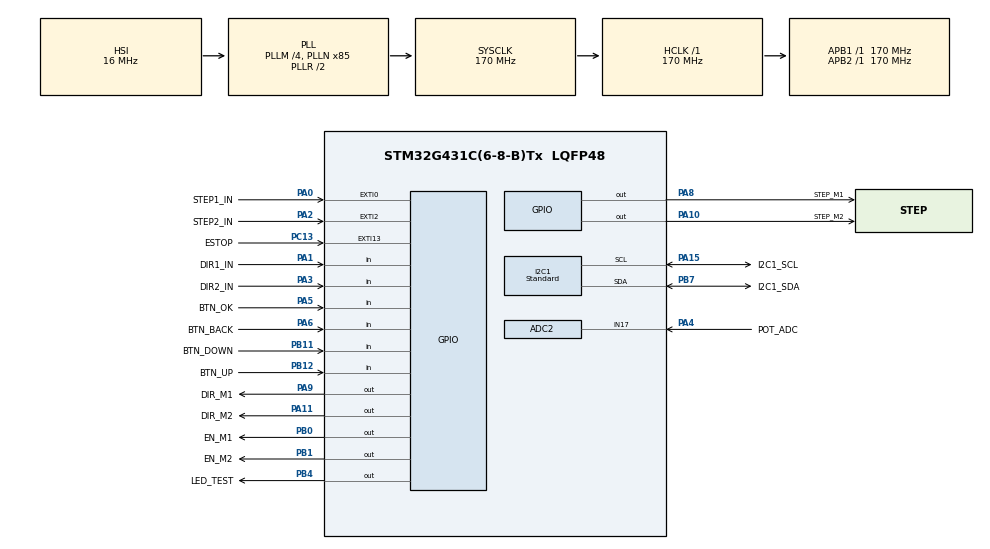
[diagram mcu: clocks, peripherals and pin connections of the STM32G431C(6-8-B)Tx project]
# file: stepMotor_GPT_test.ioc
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ADC2.Channel-0\#ChannelRegularConversion=ADC_CHANNEL_17
ADC2.ContinuousConvMode=ENABLE
ADC2.NbrOfConversionFlag=1
ADC2.OffsetNumber-0\#ChannelRegularConversion=ADC_OFFSET_NONE
ADC2.Rank-0\#ChannelRegularConversion=1
ADC2.SamplingTime-0\#ChannelRegularConversion=ADC_SAMPLETIME_247CYCLES_5
I2C1.I2C_Speed_Mode=I2C_Standard
I2C1.Speed=100
I2C1.Timing=0x30A0A7FB
Mcu.Family=STM32G4
Mcu.Name=STM32G431C(6-8-B)Tx
Mcu.Package=LQFP48
NVIC.EXTI15_10_IRQn=true\:1\:0\:true\:false\:true\:true\:true\:true
NVIC.PriorityGroup=NVIC_PRIORITYGROUP_4
NVIC.TIM6_DAC_IRQn=true\:0\:0\:false\:false\:true\:true\:true\:true
PA0.GPIO_Label=STEP1_IN
PA0.GPIO_ModeDefaultEXTI=GPIO_MODE_IT_RISING
PA0.GPIO_PuPd=GPIO_PULLDOWN
PA0.Signal=GPXTI0
PA1.GPIO_Label=DIR1_IN
PA1.GPIO_PuPd=GPIO_PULLDOWN
PA1.Signal=GPIO_Input
PA10.GPIO_Label=STEP_M2
PA10.GPIO_Speed=GPIO_SPEED_FREQ_VERY_HIGH
PA10.Signal=GPIO_Output
PA11.GPIO_Label=DIR_M2
PA11.GPIO_Speed=GPIO_SPEED_FREQ_VERY_HIGH
PA11.Signal=GPIO_Output
PA13.Mode=Serial_Wire
PA13.Signal=SYS_JTMS-SWDIO
PA14.Mode=Serial_Wire
PA14.Signal=SYS_JTCK-SWCLK
PA15.GPIO_Label=I2C1_SCL
PA15.GPIO_Pu=GPIO_PULLUP
PA15.GPIO_Speed=GPIO_SPEED_FREQ_LOW
PA15.Mode=I2C
PA15.Signal=I2C1_SCL
PA2.GPIO_Label=STEP2_IN
PA2.GPIO_PuPd=GPIO_PULLDOWN
PA2.Signal=GPXTI2
PA3.GPIO_Label=DIR2_IN
PA3.GPIO_PuPd=GPIO_PULLDOWN
PA3.Signal=GPIO_Input
PA4.GPIO_Label=POT_ADC
PA4.Mode=IN17-Single-Ended
PA4.Signal=ADC2_IN17
PA5.GPIO_Label=BTN_OK
PA5.GPIO_PuPd=GPIO_PULLUP
PA5.Signal=GPIO_Input
PA6.GPIO_Label=BTN_BACK
PA6.GPIO_PuPd=GPIO_PULLUP
PA6.Signal=GPIO_Input
PA8.GPIO_Label=STEP_M1
PA8.GPIO_ModeDefaultOutputPP=GPIO_MODE_OUTPUT_PP
PA8.GPIO_Speed=GPIO_SPEED_FREQ_VERY_HIGH
PA8.Signal=GPIO_Output
PA9.GPIO_Label=DIR_M1
PA9.GPIO_Speed=GPIO_SPEED_FREQ_VERY_HIGH
PA9.Signal=GPIO_Output
PB0.GPIO_Label=EN_M1
PB0.GPIO_Speed=GPIO_SPEED_FREQ_VERY_HIGH
PB0.PinState=GPIO_PIN_SET
PB0.Signal=GPIO_Output
PB1.GPIO_Label=EN_M2
PB1.GPIO_Speed=GPIO_SPEED_FREQ_VERY_HIGH
PB1.PinState=GPIO_PIN_SET
PB1.Signal=GPIO_Output
PB11.GPIO_Label=BTN_DOWN
PB11.GPIO_PuPd=GPIO_PULLUP
PB11.Signal=GPIO_Input
PB12.GPIO_Label=BTN_UP
PB12.GPIO_PuPd=GPIO_PULLUP
PB12.Signal=GPIO_Input
PB4.GPIO_Label=LED_TEST
PB4.PinState=GPIO_PIN_SET
PB4.Signal=GPIO_Output
PB7.GPIO_Label=I2C1_SDA
PB7.GPIO_Pu=GPIO_PULLUP
PB7.GPIO_Speed=GPIO_SPEED_FREQ_LOW
PB7.Mode=I2C
PB7.Signal=I2C1_SDA
PC13.GPIO_Label=ESTOP
PC13.GPIO_ModeDefaultEXTI=GPIO_MODE_IT_FALLING
PC13.GPIO_PuPd=GPIO_PULLUP
PC13.Signal=GPXTI13
ProjectManager.HeapSize=0x200
ProjectManager.StackSize=0x400
ProjectManager.TargetToolchain=STM32CubeIDE
RCC.ADC12Freq_Value=170000000
RCC.AHBFreq_Value=170000000
RCC.APB1Freq_Value=170000000
RCC.APB1TimFreq_Value=170000000
RCC.APB2Freq_Value=170000000
RCC.APB2TimFreq_Value=170000000
RCC.CortexFreq_Value=170000000
RCC.EXTERNAL_CLOCK_VALUE=12288000
RCC.HCLKFreq_Value=170000000
RCC.HSE_VALUE=8000000
RCC.HSI48_VALUE=48000000
RCC.HSI_VALUE=16000000
RCC.LSE_VALUE=32768
RCC.PLLM=RCC_PLLM_DIV4
RCC.PLLN=85
RCC.SYSCLKFreq_VALUE=170000000
RCC.SYSCLKSource=RCC_SYSCLKSOURCE_PLLCLK
RCC.USBFreq_Value=170000000
RCC.VCOOutputFreq_Value=340000000
TIM6.PeriodNoDither=49
TIM6.Prescaler=169
VP_IWDG_VS_IWDG.Mode=IWDG_Activate
VP_TIM6_VS_ClockSourceINT.Mode=Enable_Timer
board=custom

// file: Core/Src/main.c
/* USER CODE BEGIN Header */
/**
 ******************************************************************************
 * @file           : main.c
 * @brief          : Main program body
 ******************************************************************************
 * @attention
 *
 * Copyright (c) 2026 STMicroelectronics.
 * All rights reserved.
 *
 * This software is licensed under terms that can be found in the LICENSE file
 * in the root directory of this software component.
 * If no LICENSE file comes with this software, it is provided AS-IS.
 *
 ******************************************************************************
 */
/* USER CODE END Header */
#include "main.h"

/* USER CODE BEGIN Includes */
#include "axis.h"
#include "driver.h"
#include "safety.h"

#include "potentiometer.h"
#include "ui.h"
#include "estop.h"

#include "buttons.h"
#include "menu.h"
#include <stdint.h>
#include "stm32g4xx_hal.h"
#include "stm32g4xx_hal_iwdg.h"

/* USER CODE END Includes */

/* USER CODE BEGIN PD */
#define USE_IWDG 1
/* USER CODE END PD */

ADC_HandleTypeDef hadc2;

I2C_HandleTypeDef hi2c1;

#if USE_IWDG
IWDG_HandleTypeDef hiwdg;
#endif

TIM_HandleTypeDef htim6;

/* USER CODE BEGIN PV */
Axis axis1;
Axis axis2;
Driver drv1;
Driver drv2;
Safety safety;

Potentiometer pot;
static uint16_t pot_value = 0;
static uint32_t speed_update_tick = 0;

Buttons btns;
Menu menu;

/* USER CODE END PV */

void SystemClock_Config(void);
static void MX_GPIO_Init(void);
static void MX_TIM6_Init(void);
static void MX_ADC2_Init(void);
static void MX_I2C1_Init(void);
#if USE_IWDG
static void MX_IWDG_Init(void);
#endif

int main(void)
{

  /* MCU Configuration--------------------------------------------------------*/

  /* Reset of all peripherals, Initializes the Flash interface and the Systick. */
  HAL_Init();

  /* Configure the system clock */
  SystemClock_Config();

  /* USER CODE BEGIN SysInit */
	// Enable DWT cycle counter for microsecond delays (Cortex-M4)
	CoreDebug->DEMCR |= CoreDebug_DEMCR_TRCENA_Msk;
	DWT->CYCCNT = 0;
	DWT->CTRL |= DWT_CTRL_CYCCNTENA_Msk;
  /* USER CODE END SysInit */

  /* Initialize all configured peripherals */
  MX_GPIO_Init();
  MX_TIM6_Init();
  MX_ADC2_Init();
  MX_I2C1_Init();
#if USE_IWDG
  MX_IWDG_Init();
#endif
  /* USER CODE BEGIN 2 */
	/* Дать OLED чуть “проснуться” после старта питания */
	HAL_Delay(50);

	/* === I2C scan === */
	uint8_t found = 0;
	uint8_t a;

	for (a = 1; a < 127; a++) {
		if (HAL_I2C_IsDeviceReady(&hi2c1, (uint16_t) (a << 1), 2, 20)
				== HAL_OK) {
			found = a;   // ждём 0x3C
			break;
		}
	}

	/* === индикация LED_TEST === */
	if (found == 0x3C) {
		/* OLED найден: моргнём 3 раза и продолжаем запуск */
		for (int i = 0; i < 3; i++) {
			HAL_GPIO_TogglePin(LED_TEST_GPIO_Port, LED_TEST_Pin);
			HAL_Delay(120);
			HAL_GPIO_TogglePin(LED_TEST_GPIO_Port, LED_TEST_Pin);
			HAL_Delay(120);
		}
	} else {
		/* OLED НЕ найден: медленно мигаем и стопоримся (чтобы сразу было видно проблему) */
		while (1) {
			HAL_GPIO_TogglePin(LED_TEST_GPIO_Port, LED_TEST_Pin);
			HAL_Delay(500);

#if USE_IWDG
			HAL_IWDG_Refresh(&hiwdg);
#endif
		}

	}

	/* дальше — твой обычный запуск */
	Axis_Init(&axis1,
	STEP_M1_GPIO_Port, STEP_M1_Pin,
	DIR_M1_GPIO_Port, DIR_M1_Pin, MICROSTEP_64);

	Axis_Init(&axis2,
	STEP_M2_GPIO_Port, STEP_M2_Pin,
	DIR_M2_GPIO_Port, DIR_M2_Pin, MICROSTEP_64);

	Driver_Init(&drv1, EN_M1_GPIO_Port, EN_M1_Pin, 0);
	Driver_Init(&drv2, EN_M2_GPIO_Port, EN_M2_Pin, 0);

	Driver_Enable(&drv1);
	Driver_Enable(&drv2);

	Safety_Init(&safety, ESTOP_GPIO_Port, ESTOP_Pin, &drv1, &drv2);

	Potentiometer_Init(&pot, &hadc2, 0, 4095);

	/* ВАЖНО: UI_Init теперь точно дойдёт и покажет "UI READY" */
	UI_Init(&hi2c1);

	Buttons_Init(&btns);
	Menu_Init(&menu, &axis1, &axis2, &drv1, &drv2);

	HAL_TIM_Base_Start_IT(&htim6);

  /* USER CODE END 2 */

  /* Infinite loop */
  /* USER CODE BEGIN WHILE */
	while (1) {
		/* ===== аварийная остановка ===== */
		/* ===== аварийная остановка (latched fault, без "заморозки" MCU) ===== */
		static uint8_t estop_handled = 0;

		if (Estop_IsActive()) {

			if (!estop_handled) {
				/* 1) остановить генерацию STEP */
				HAL_TIM_Base_Stop_IT(&htim6);

				/* 2) программно остановить оси */
				Axis_EmergencyStop(&axis1);
				Axis_EmergencyStop(&axis2);

				/* 3) прижать STEP/DIR в 0 */
				HAL_GPIO_WritePin(STEP_M1_GPIO_Port, STEP_M1_Pin,
						GPIO_PIN_RESET);
				HAL_GPIO_WritePin(STEP_M2_GPIO_Port, STEP_M2_Pin,
						GPIO_PIN_RESET);
				HAL_GPIO_WritePin(DIR_M1_GPIO_Port, DIR_M1_Pin, GPIO_PIN_RESET);
				HAL_GPIO_WritePin(DIR_M2_GPIO_Port, DIR_M2_Pin, GPIO_PIN_RESET);

				/* 4) отключить драйверы */
				Driver_DisableAll();

				/* помечаем что уже отработали один раз */
				estop_handled = 1;
			}

		} else {
			/* если E-STOP отпущен — разрешаем отработать снова при следующем срабатывании */
			estop_handled = 0;
		}

		/* ===== обычная работа ===== */
		Safety_Update(&safety);

		Buttons_Update(&btns);
		Menu_Update(&menu, &btns);   // меню само рисует UI

		/* ===== выполнение команды START от меню (one-shot) ===== */
		if (menu.start_request) {
			menu.start_request = 0;  // обязательно сбросить сразу

			if (!Estop_IsActive()) {
				int32_t steps = menu.steps_full;

				if (menu.link_motors) {
					Axis_MoveSteps(&axis1, steps);
					Axis_MoveSteps(&axis2, steps);
				} else {
					if (menu.selected_axis == 0)
						Axis_MoveSteps(&axis1, steps);
					else
						Axis_MoveSteps(&axis2, steps);
				}
			}
		}

		Potentiometer_Update(&pot);

		/* ===== скорость раз в 5 мс (max_speed для профиля) ===== */
		if (HAL_GetTick() - speed_update_tick >= 5U) {
			speed_update_tick = HAL_GetTick();

			pot_value = Potentiometer_GetValue(&pot);

			uint32_t max_usps =
			AXIS_MIN_SPEED_USTEP_S
					+ ((uint32_t) pot_value
							* (AXIS_MAX_SPEED_USTEP_S - AXIS_MIN_SPEED_USTEP_S))
							/ 4095U;

			axis1.max_speed = max_usps;
			axis2.max_speed = max_usps;
		}
#if USE_IWDG
		HAL_IWDG_Refresh(&hiwdg);
#endif
	}
    /* USER CODE END WHILE */

    /* USER CODE BEGIN 3 */
	// сюда можно добавить что-то, но обычно пусто
  /* USER CODE END 3 */
}

void SystemClock_Config(void)
{
  RCC_OscInitTypeDef RCC_OscInitStruct = {0};
  RCC_ClkInitTypeDef RCC_ClkInitStruct = {0};

  /** Configure the main internal regulator output voltage
  */
  HAL_PWREx_ControlVoltageScaling(PWR_REGULATOR_VOLTAGE_SCALE1_BOOST);

  /** Initializes the RCC Oscillators according to the specified parameters
  * in the RCC_OscInitTypeDef structure.
  */
  RCC_OscInitStruct.OscillatorType = RCC_OSCILLATORTYPE_HSI|RCC_OSCILLATORTYPE_LSI;
  RCC_OscInitStruct.HSIState = RCC_HSI_ON;
  RCC_OscInitStruct.HSICalibrationValue = RCC_HSICALIBRATION_DEFAULT;
  RCC_OscInitStruct.LSIState = RCC_LSI_ON;
  RCC_OscInitStruct.PLL.PLLState = RCC_PLL_ON;
  RCC_OscInitStruct.PLL.PLLSource = RCC_PLLSOURCE_HSI;
  RCC_OscInitStruct.PLL.PLLM = RCC_PLLM_DIV4;
  RCC_OscInitStruct.PLL.PLLN = 85;
  RCC_OscInitStruct.PLL.PLLP = RCC_PLLP_DIV2;
  RCC_OscInitStruct.PLL.PLLQ = RCC_PLLQ_DIV2;
  RCC_OscInitStruct.PLL.PLLR = RCC_PLLR_DIV2;
  if (HAL_RCC_OscConfig(&RCC_OscInitStruct) != HAL_OK)
  {
    Error_Handler();
  }

  /** Initializes the CPU, AHB and APB buses clocks
  */
  RCC_ClkInitStruct.ClockType = RCC_CLOCKTYPE_HCLK|RCC_CLOCKTYPE_SYSCLK
                              |RCC_CLOCKTYPE_PCLK1|RCC_CLOCKTYPE_PCLK2;
  RCC_ClkInitStruct.SYSCLKSource = RCC_SYSCLKSOURCE_PLLCLK;
  RCC_ClkInitStruct.AHBCLKDivider = RCC_SYSCLK_DIV1;
  RCC_ClkInitStruct.APB1CLKDivider = RCC_HCLK_DIV1;
  RCC_ClkInitStruct.APB2CLKDivider = RCC_HCLK_DIV1;

  if (HAL_RCC_ClockConfig(&RCC_ClkInitStruct, FLASH_LATENCY_4) != HAL_OK)
  {
    Error_Handler();
  }
}

static void MX_ADC2_Init(void)
{

  ADC_ChannelConfTypeDef sConfig = {0};

  /** Common config
  */
  hadc2.Instance = ADC2;
  hadc2.Init.ClockPrescaler = ADC_CLOCK_SYNC_PCLK_DIV4;
  hadc2.Init.Resolution = ADC_RESOLUTION_12B;
  hadc2.Init.DataAlign = ADC_DATAALIGN_RIGHT;
  hadc2.Init.GainCompensation = 0;
  hadc2.Init.ScanConvMode = ADC_SCAN_DISABLE;
  hadc2.Init.EOCSelection = ADC_EOC_SINGLE_CONV;
  hadc2.Init.LowPowerAutoWait = DISABLE;
  hadc2.Init.ContinuousConvMode = ENABLE;
  hadc2.Init.NbrOfConversion = 1;
  hadc2.Init.DiscontinuousConvMode = DISABLE;
  hadc2.Init.ExternalTrigConv = ADC_SOFTWARE_START;
  hadc2.Init.ExternalTrigConvEdge = ADC_EXTERNALTRIGCONVEDGE_NONE;
  hadc2.Init.DMAContinuousRequests = DISABLE;
  hadc2.Init.Overrun = ADC_OVR_DATA_PRESERVED;
  hadc2.Init.OversamplingMode = DISABLE;
  if (HAL_ADC_Init(&hadc2) != HAL_OK)
  {
    Error_Handler();
  }

  /** Configure Regular Channel
  */
  sConfig.Channel = ADC_CHANNEL_17;
  sConfig.Rank = ADC_REGULAR_RANK_1;
  sConfig.SamplingTime = ADC_SAMPLETIME_247CYCLES_5;
  sConfig.SingleDiff = ADC_SINGLE_ENDED;
  sConfig.OffsetNumber = ADC_OFFSET_NONE;
  sConfig.Offset = 0;
  if (HAL_ADC_ConfigChannel(&hadc2, &sConfig) != HAL_OK)
  {
    Error_Handler();
  }

}

static void MX_I2C1_Init(void)
{

  hi2c1.Instance = I2C1;
  hi2c1.Init.Timing = 0x30A0A7FB;
  hi2c1.Init.OwnAddress1 = 0;
  hi2c1.Init.AddressingMode = I2C_ADDRESSINGMODE_7BIT;
  hi2c1.Init.DualAddressMode = I2C_DUALADDRESS_DISABLE;
  hi2c1.Init.OwnAddress2 = 0;
  hi2c1.Init.OwnAddress2Masks = I2C_OA2_NOMASK;
  hi2c1.Init.GeneralCallMode = I2C_GENERALCALL_DISABLE;
  hi2c1.Init.NoStretchMode = I2C_NOSTRETCH_DISABLE;
  if (HAL_I2C_Init(&hi2c1) != HAL_OK)
  {
    Error_Handler();
  }

  /** Configure Analogue filter
  */
  if (HAL_I2CEx_ConfigAnalogFilter(&hi2c1, I2C_ANALOGFILTER_ENABLE) != HAL_OK)
  {
    Error_Handler();
  }

  /** Configure Digital filter
  */
  if (HAL_I2CEx_ConfigDigitalFilter(&hi2c1, 0) != HAL_OK)
  {
    Error_Handler();
  }

}

#if USE_IWDG
static void MX_IWDG_Init(void)
{

  hiwdg.Instance = IWDG;
	hiwdg.Init.Prescaler = IWDG_PRESCALER_64;     // было _4
	hiwdg.Init.Window = IWDG_WINDOW_DISABLE;   // ок
	hiwdg.Init.Reload = 1000;                  // ~2 сек при LSI~32kHz

  if (HAL_IWDG_Init(&hiwdg) != HAL_OK)
  {
    Error_Handler();
  }

}
#endif

static void MX_TIM6_Init(void)
{

  TIM_MasterConfigTypeDef sMasterConfig = {0};

  htim6.Instance = TIM6;
  htim6.Init.Prescaler = 169;
  htim6.Init.CounterMode = TIM_COUNTERMODE_UP;
  htim6.Init.Period = 49;
  htim6.Init.AutoReloadPreload = TIM_AUTORELOAD_PRELOAD_DISABLE;
  if (HAL_TIM_Base_Init(&htim6) != HAL_OK)
  {
    Error_Handler();
  }
  sMasterConfig.MasterOutputTrigger = TIM_TRGO_RESET;
  sMasterConfig.MasterSlaveMode = TIM_MASTERSLAVEMODE_DISABLE;
  if (HAL_TIMEx_MasterConfigSynchronization(&htim6, &sMasterConfig) != HAL_OK)
  {
    Error_Handler();
  }

}

static void MX_GPIO_Init(void)
{
  GPIO_InitTypeDef GPIO_InitStruct = {0};

  /* GPIO Ports Clock Enable */
  __HAL_RCC_GPIOC_CLK_ENABLE();
  __HAL_RCC_GPIOA_CLK_ENABLE();
  __HAL_RCC_GPIOB_CLK_ENABLE();

  /*Configure GPIO pin Output Level */
  HAL_GPIO_WritePin(GPIOB, EN_M1_Pin|EN_M2_Pin|LED_TEST_Pin, GPIO_PIN_SET);

  /*Configure GPIO pin Output Level */
  HAL_GPIO_WritePin(GPIOA, STEP_M1_Pin|DIR_M1_Pin|STEP_M2_Pin|DIR_M2_Pin, GPIO_PIN_RESET);

  /*Configure GPIO pin : ESTOP_Pin */
  GPIO_InitStruct.Pin = ESTOP_Pin;
  GPIO_InitStruct.Mode = GPIO_MODE_IT_FALLING;
  GPIO_InitStruct.Pull = GPIO_PULLUP;
  HAL_GPIO_Init(ESTOP_GPIO_Port, &GPIO_InitStruct);

  /*Configure GPIO pins : STEP1_IN_Pin STEP2_IN_Pin */
  GPIO_InitStruct.Pin = STEP1_IN_Pin|STEP2_IN_Pin;
  GPIO_InitStruct.Mode = GPIO_MODE_IT_RISING;
  GPIO_InitStruct.Pull = GPIO_PULLDOWN;
  HAL_GPIO_Init(GPIOA, &GPIO_InitStruct);

  /*Configure GPIO pins : DIR1_IN_Pin DIR2_IN_Pin */
  GPIO_InitStruct.Pin = DIR1_IN_Pin|DIR2_IN_Pin;
  GPIO_InitStruct.Mode = GPIO_MODE_INPUT;
  GPIO_InitStruct.Pull = GPIO_PULLDOWN;
  HAL_GPIO_Init(GPIOA, &GPIO_InitStruct);

  /*Configure GPIO pins : BTN_OK_Pin BTN_BACK_Pin */
  GPIO_InitStruct.Pin = BTN_OK_Pin|BTN_BACK_Pin;
  GPIO_InitStruct.Mode = GPIO_MODE_INPUT;
  GPIO_InitStruct.Pull = GPIO_PULLUP;
  HAL_GPIO_Init(GPIOA, &GPIO_InitStruct);

  /*Configure GPIO pins : EN_M1_Pin EN_M2_Pin */
  GPIO_InitStruct.Pin = EN_M1_Pin|EN_M2_Pin;
  GPIO_InitStruct.Mode = GPIO_MODE_OUTPUT_PP;
  GPIO_InitStruct.Pull = GPIO_NOPULL;
  GPIO_InitStruct.Speed = GPIO_SPEED_FREQ_VERY_HIGH;
  HAL_GPIO_Init(GPIOB, &GPIO_InitStruct);

  /*Configure GPIO pins : BTN_DOWN_Pin BTN_UP_Pin */
  GPIO_InitStruct.Pin = BTN_DOWN_Pin|BTN_UP_Pin;
  GPIO_InitStruct.Mode = GPIO_MODE_INPUT;
  GPIO_InitStruct.Pull = GPIO_PULLUP;
  HAL_GPIO_Init(GPIOB, &GPIO_InitStruct);

  /*Configure GPIO pins : STEP_M1_Pin DIR_M1_Pin STEP_M2_Pin DIR_M2_Pin */
  GPIO_InitStruct.Pin = STEP_M1_Pin|DIR_M1_Pin|STEP_M2_Pin|DIR_M2_Pin;
  GPIO_InitStruct.Mode = GPIO_MODE_OUTPUT_PP;
  GPIO_InitStruct.Pull = GPIO_NOPULL;
  GPIO_InitStruct.Speed = GPIO_SPEED_FREQ_VERY_HIGH;
  HAL_GPIO_Init(GPIOA, &GPIO_InitStruct);

  /*Configure GPIO pin : LED_TEST_Pin */
  GPIO_InitStruct.Pin = LED_TEST_Pin;
  GPIO_InitStruct.Mode = GPIO_MODE_OUTPUT_PP;
  GPIO_InitStruct.Pull = GPIO_NOPULL;
  GPIO_InitStruct.Speed = GPIO_SPEED_FREQ_LOW;
  HAL_GPIO_Init(LED_TEST_GPIO_Port, &GPIO_InitStruct);

  /* EXTI interrupt init*/
  HAL_NVIC_SetPriority(EXTI15_10_IRQn, 1, 0);
  HAL_NVIC_EnableIRQ(EXTI15_10_IRQn);

}

/* USER CODE BEGIN 4 */
void HAL_TIM_PeriodElapsedCallback(TIM_HandleTypeDef *htim) {
	if (htim->Instance == TIM6) {
		Axis_Tick(&axis1);
		Axis_Tick(&axis2);
	}
}
void HAL_GPIO_EXTI_Callback(uint16_t GPIO_Pin) {
	if (GPIO_Pin == ESTOP_Pin) {
		Estop_Trigger();
		return;
	}

	// Внешние STEP/DIR пока НЕ используем (режим Axis)
	/*
	 if (GPIO_Pin == STEP1_IN_Pin) {
	 StepDir_OnStepIRQ(&sd1);
	 } else if (GPIO_Pin == STEP2_IN_Pin) {
	 StepDir_OnStepIRQ(&sd2);
	 }
	 */
}

/* USER CODE END 4 */

void Error_Handler(void)
{
	__disable_irq();
	while (1) {
	}
}
